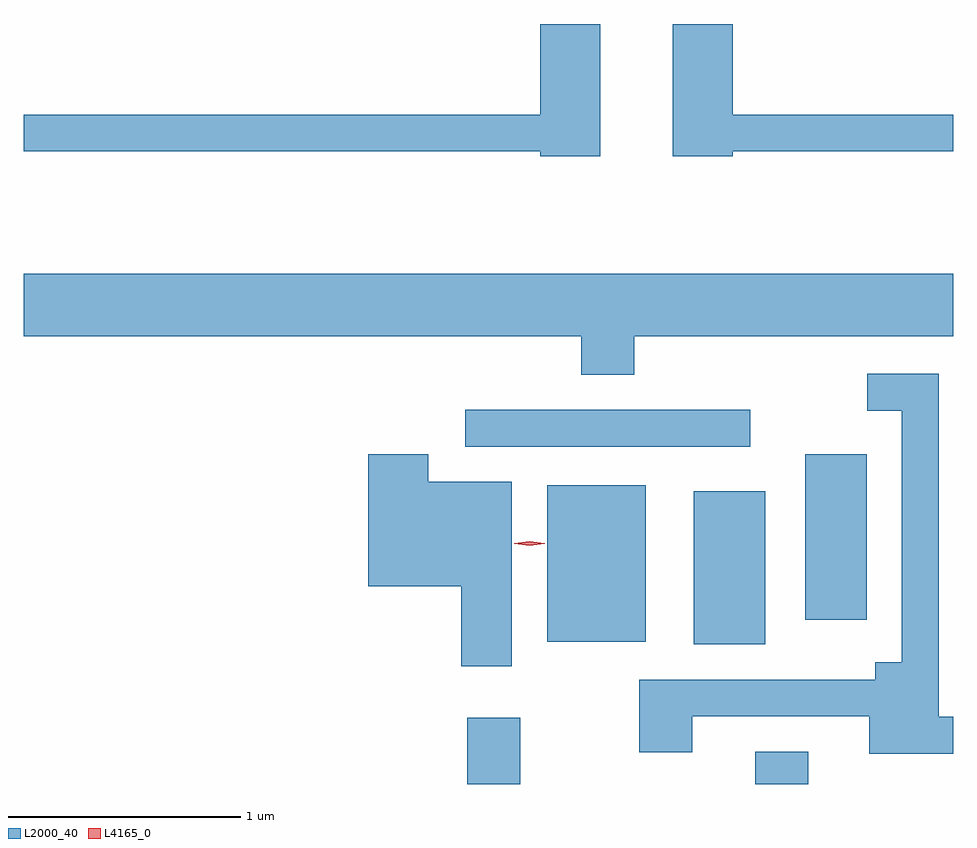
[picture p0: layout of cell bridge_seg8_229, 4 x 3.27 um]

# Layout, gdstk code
import gdstk
lib = gdstk.Library(unit=1e-6, precision=1e-09)
def R(c, l, rs):  # rectangles x0, y0, x1, y1
    for r in rs: c.add(gdstk.rectangle(r[:2], r[2:], *l))
def P(c, l, *ps):  # polygons
    for p in ps: c.add(gdstk.Polygon(p, *l))
L2000_40 = (2000, 40)
L4165_0 = (4165, 0)

bridge_seg8_229 = lib.new_cell('bridge_seg8_229')
R(bridge_seg8_229, L2000_40, [(1227.271,1856.69,1227.499,1856.974), (1228.511,1856.69,1228.739,1856.829), (1228.246,1857.291,1228.554,1857.949), (1227.616,1857.301,1228.039,1857.974), (1228.726,1857.396,1228.989,1858.109), (1227.263,1858.141,1228.488,1858.299)])
P(bridge_seg8_229, L2000_40, [(1227.844,1859.959),(1227.586,1859.959),(1227.586,1859.569),(1225.363,1859.569),(1225.363,1859.411),(1227.586,1859.411),(1227.586,1859.391),(1227.844,1859.391)],
  [(1228.414,1859.411),(1229.363,1859.411),(1229.363,1859.569),(1228.414,1859.569),(1228.414,1859.959),(1228.156,1859.959),(1228.156,1859.391),(1228.414,1859.391)],
  [(1227.989,1858.616),(1229.363,1858.616),(1229.363,1858.884),(1225.363,1858.884),(1225.363,1858.616),(1227.761,1858.616),(1227.761,1858.451),(1227.989,1858.451)],
  [(1229.363,1856.979),(1229.299,1856.979),(1229.299,1858.454),(1228.993,1858.454),(1228.993,1858.296),(1229.141,1858.296),(1229.141,1857.214),(1229.026,1857.214),(1229.026,1857.139),(1228.011,1857.139),(1228.011,1856.826),(1228.239,1856.826),(1228.239,1856.981),(1229.001,1856.981),(1229.001,1856.821),(1229.363,1856.821)],
  [(1227.464,1857.989),(1227.104,1857.989),(1227.104,1858.109),(1226.846,1858.109),(1226.846,1857.541),(1227.246,1857.541),(1227.246,1857.196),(1227.464,1857.196)])
P(bridge_seg8_229, L4165_0, [(1227.54,1857.714),(1227.474,1857.724),(1227.473,1857.724),(1227.474,1857.725),(1227.54,1857.734),(1227.606,1857.725),(1227.606,1857.724),(1227.606,1857.724)])

lib.write_gds('bridge_seg8_229.gds')
